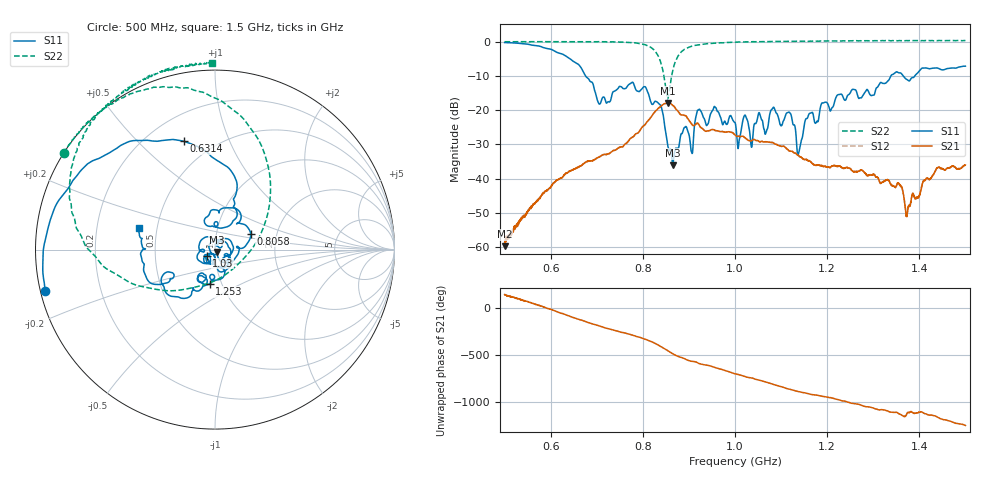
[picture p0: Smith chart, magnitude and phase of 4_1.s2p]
!Keysight Technologies,N5242B,MY48420860,A.13.80.08
!Date: Saturday, September 26, 2020 11:46:58
!Correction: S11(Full 2 Port(1,2))
!S21(Full 2 Port(1,2))
!S12(Full 2 Port(1,2))
!S22(Full 2 Port(1,2))
!S2P File: Measurements: S11, S21, S12, S22:
# Hz S  dB  R 50
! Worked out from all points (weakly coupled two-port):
!   2650 points, 500 MHz to 1.5 GHz, reference 50 ohm
!   highest |S21| = -17.93 dB at 853.7 MHz (marker M1); lowest = -59.7 dB at 500.4 MHz (marker M2)
!   lowest |S11| = -36.1 dB at 865 MHz (marker M3), VSWR 1.03, Z = 50.9 - j1.29 ohm
!   |S11| at or under -10 dB: 675.7 MHz to 1.338 GHz (662.4 MHz wide, 65.8 % of centre); 1.365 GHz to 1.39 GHz (25.02 MHz wide, 1.82 % of centre)
!   |S22| runs from -16.7 to 0.4 dB; largest |S21 - S12| = 0.00052
!   S11 on the Smith chart (normalised r, x): 500 MHz: 0.01, -0.12; 631.4 MHz: 0.35, +0.69; 805.8 MHz: 1.46, +0.27; 1.03 GHz: 0.91, -0.06; 1.253 GHz: 0.88, -0.35; 1.5 GHz: 0.40, +0.12
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5e8  -0.24 -166.3  -58.96 141.9  -59.21 134.4  -0.00 147.3
5.003775e8  -0.24 -166.5  -59.75 135.6  -58.24 137.2  -0.00 147.3
6.313703e8  -4.05 106.0  -38.68 -69.3  -38.70 -69.7  0.03 136.3
6.668554e8  -7.79 73.5  -36.18 -129.7  -36.22 -129.9  0.02 132.7
7.053605e8  -18.23 77.1  -33.72 169.7  -33.65 169.5  0.01 127.9
8.057758e8  -13.25 24.2  -24.05 27.1  -24.06 27.0  -0.93 97.8
8.337108e8  -18.01 -16.9  -19.43 -34.2  -19.44 -34.3  -4.25 63.8
8.537184e8  -30.15 -65.0  -17.93 -91.7  -17.94 -91.8  -16.69 -49.2
8.650434e8  -36.07 -53.4  -18.61 -125.8  -18.62 -125.9  -8.41 -143.7
8.914685e8  -25.01 67.6  -21.58 -179.8  -21.60 -179.8  -2.12 170.9
9.06191e8  -32.42 40.2  -24.09 153.9  -24.11 153.9  -1.30 160.4
9.216686e8  -19.81 12.9  -24.24 131.3  -24.28 131.3  -0.87 153.1
1.000189e9  -23.66 -130.4  -27.32 21.4  -27.34 21.0  -0.14 135.6
1.029634e9  -24.73 -144.5  -28.88 -16.7  -28.89 -16.8  -0.00 131.4
1.116837e9  -20.59 151.4  -31.88 -139.7  -31.88 -139.8  0.11 122.7
1.138732e9  -32.27 85.6  -33.41 -167.2  -33.44 -167.6  0.15 120.7
1.166667e9  -20.69 -30.9  -35.41 162.3  -35.40 162.1  0.14 118.3
1.252737e9  -14.25 -99.1  -37.57 70.4  -37.53 70.2  0.23 111.2
1.333522e9  -11.29 -118.4  -40.46 -17.6  -40.55 -17.5  0.35 104.7
1.37467e9  -11.18 -152.7  -49.54 -28.7  -49.40 -26.9  0.30 101.5
1.439222e9  -7.68 -177.7  -36.85 -77.1  -36.91 -77.0  0.30 96.1
1.5e9  -7.14 163.9  -36.02 -165.2  -35.98 -164.9  0.32 90.9
